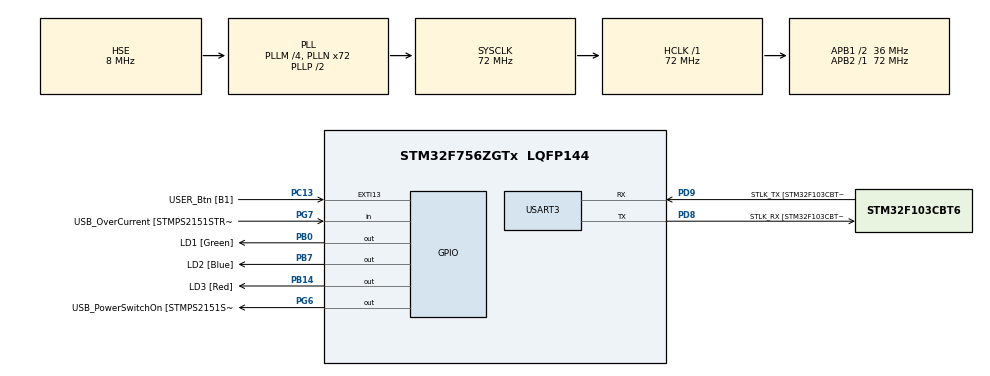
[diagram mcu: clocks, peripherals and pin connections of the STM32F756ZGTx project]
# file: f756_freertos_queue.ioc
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FREERTOS.Queues01=ProducerQueue01,16,uint16_t,0,Dynamic,NULL,NULL
FREERTOS.Tasks01=Tsak01,24,128,Task01_fanction,Default,NULL,Dynamic,NULL,NULL;Task02,8,128,Task02_function,Default,NULL,Dynamic,NULL,NULL
Mcu.Family=STM32F7
Mcu.Name=STM32F756ZGTx
Mcu.Package=LQFP144
NVIC.PriorityGroup=NVIC_PRIORITYGROUP_4
NVIC.TIM6_DAC_IRQn=true\:15\:0\:false\:false\:true\:false\:false\:true\:true
NVIC.TimeBase=TIM6_DAC_IRQn
NVIC.TimeBaseIP=TIM6
PA1.GPIO_Label=RMII_REF_CLK [LAN8742A-CZ-TR_REFCLK0]
PA1.Signal=ETH_REF_CLK
PA10.GPIO_Label=USB_ID
PA10.Signal=USB_OTG_FS_ID
PA11.GPIO_Label=USB_DM
PA11.Signal=USB_OTG_FS_DM
PA12.GPIO_Label=USB_DP
PA12.Signal=USB_OTG_FS_DP
PA13.GPIO_Label=TMS
PA13.Mode=Serial_Wire
PA13.Signal=SYS_JTMS-SWDIO
PA14.GPIO_Label=TCK
PA14.Mode=Serial_Wire
PA14.Signal=SYS_JTCK-SWCLK
PA2.GPIO_Label=RMII_MDIO [LAN8742A-CZ-TR_MDIO]
PA2.Signal=ETH_MDIO
PA7.GPIO_Label=RMII_CRS_DV [LAN8742A-CZ-TR_CRS_DV]
PA7.Signal=ETH_CRS_DV
PA8.GPIO_Label=USB_SOF [TP1]
PA8.Signal=USB_OTG_FS_SOF
PA9.GPIO_Label=USB_VBUS
PA9.Signal=USB_OTG_FS_VBUS
PB0.GPIO_Label=LD1 [Green]
PB0.Signal=GPIO_Output
PB13.GPIO_Label=RMII_TXD1 [LAN8742A-CZ-TR_TXD1]
PB13.Signal=ETH_TXD1
PB14.GPIO_Label=LD3 [Red]
PB14.Signal=GPIO_Output
PB3.GPIO_Label=SW0
PB3.Signal=SYS_JTDO-SWO
PB7.GPIO_Label=LD2 [Blue]
PB7.Signal=GPIO_Output
PB8.Signal=I2C1_SCL
PB9.Signal=I2C1_SDA
PC1.GPIO_Label=RMII_MDC [LAN8742A-CZ-TR_MDC]
PC1.Signal=ETH_MDC
PC13.GPIO_Label=USER_Btn [B1]
PC13.Signal=GPXTI13
PC14/OSC32_IN.Mode=LSE-External-Oscillator
PC14/OSC32_IN.Signal=RCC_OSC32_IN
PC15/OSC32_OUT.Mode=LSE-External-Oscillator
PC15/OSC32_OUT.Signal=RCC_OSC32_OUT
PC4.GPIO_Label=RMII_RXD0 [LAN8742A-CZ-TR_RXD0]
PC4.Signal=ETH_RXD0
PC5.GPIO_Label=RMII_RXD1 [LAN8742A-CZ-TR_RXD1]
PC5.Signal=ETH_RXD1
PD8.GPIO_Label=STLK_RX [STM32F103CBT6_PA3]
PD8.Mode=Asynchronous
PD8.Signal=USART3_TX
PD9.GPIO_Label=STLK_TX [STM32F103CBT6_PA2]
PD9.Mode=Asynchronous
PD9.Signal=USART3_RX
PG11.GPIO_Label=RMII_TX_EN [LAN8742A-CZ-TR_TXEN]
PG11.Signal=ETH_TX_EN
PG13.GPIO_Label=RMII_TXD0 [LAN8742A-CZ-TR_TXD0]
PG13.Signal=ETH_TXD0
PG6.GPIO_Label=USB_PowerSwitchOn [STMPS2151STR_EN]
PG6.Signal=GPIO_Output
PG7.GPIO_Label=USB_OverCurrent [STMPS2151STR_FAULT]
PG7.Signal=GPIO_Input
PH0/OSC_IN.GPIO_Label=MCO [STM32F103CBT6_PA8]
PH0/OSC_IN.Mode=HSE-External-Clock-Source
PH0/OSC_IN.Signal=RCC_OSC_IN
PH1/OSC_OUT.Mode=HSE-External-Clock-Source
PH1/OSC_OUT.Signal=RCC_OSC_OUT
ProjectManager.HeapSize=0x200
ProjectManager.StackSize=0x400
ProjectManager.TargetToolchain=CMake
RCC.48MHZClocksFreq_Value=24000000
RCC.AHBFreq_Value=72000000
RCC.APB1CLKDivider=RCC_HCLK_DIV2
RCC.APB1Freq_Value=36000000
RCC.APB1TimFreq_Value=72000000
RCC.APB2Freq_Value=72000000
RCC.APB2TimFreq_Value=72000000
RCC.CortexFreq_Value=72000000
RCC.HCLKFreq_Value=72000000
RCC.HSE_VALUE=8000000
RCC.HSI_VALUE=16000000
RCC.PLLM=4
RCC.PLLMUL=RCC_PLL_MUL9
RCC.PLLN=72
RCC.PLLQ=3
RCC.PLLSourceVirtual=RCC_PLLSOURCE_HSE
RCC.PRESCALERUSB=RCC_USBCLKSOURCE_PLL_DIV1_5
RCC.SYSCLKFreq_VALUE=72000000
RCC.SYSCLKSource=RCC_SYSCLKSOURCE_PLLCLK
RCC.SYSCLKSourceVirtual=RCC_SYSCLKSOURCE_PLLCLK
RCC.USBFreq_Value=48000000
RCC.VCOOutputFreq_Value=144000000
USART3.VirtualMode-Asynchronous=VM_ASYNC
VP_FREERTOS_VS_CMSIS_V2.Mode=CMSIS_V2
VP_SYS_VS_tim6.Mode=TIM6
board=NUCLEO-F756ZG

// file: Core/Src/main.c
/* USER CODE BEGIN Header */
/**
  ******************************************************************************
  * @file           : main.c
  * @brief          : Main program body
  ******************************************************************************
  * @attention
  *
  * Copyright (c) 2025 STMicroelectronics.
  * All rights reserved.
  *
  * This software is licensed under terms that can be found in the LICENSE file
  * in the root directory of this software component.
  * If no LICENSE file comes with this software, it is provided AS-IS.
  *
  ******************************************************************************
  */
/* USER CODE END Header */
#include "main.h"
#include "cmsis_os.h"

/* USER CODE BEGIN Includes */
#include <string.h>
#include "queue_private.h"

/* USER CODE END Includes */

/* USER CODE BEGIN PD */
#define MAX_BUFFER_SIZE 100
/* USER CODE END PD */

UART_HandleTypeDef huart3;

/* Definitions for Tsak01 */
osThreadId_t Tsak01Handle;
const osThreadAttr_t Tsak01_attributes = {
  .name = "Tsak01",
  .stack_size = 128 * 4,
  .priority = (osPriority_t) osPriorityNormal,
};
/* Definitions for Task02 */
osThreadId_t Task02Handle;
const osThreadAttr_t Task02_attributes = {
  .name = "Task02",
  .stack_size = 128 * 4,
  .priority = (osPriority_t) osPriorityLow,
};
/* Definitions for ProducerQueue01 */
osMessageQueueId_t ProducerQueue01Handle;
const osMessageQueueAttr_t ProducerQueue01_attributes = {
  .name = "ProducerQueue01"
};
/* USER CODE BEGIN PV */
static CustomQueue_t messageQueue;

/* USER CODE END PV */

void SystemClock_Config(void);
static void MX_GPIO_Init(void);
static void MX_USART3_UART_Init(void);
void Task01_fanction(void *argument);
void Task02_function(void *argument);

int main(void)
{

  /* MCU Configuration--------------------------------------------------------*/

  /* Reset of all peripherals, Initializes the Flash interface and the Systick. */
  HAL_Init();

  /* Configure the system clock */
  SystemClock_Config();

  /* Initialize all configured peripherals */
  MX_GPIO_Init();
  MX_USART3_UART_Init();
  /* USER CODE BEGIN 2 */

  HAL_UART_Transmit(&huart3, (uint8_t *)"Stating Echo Mode\r\n",
                    sizeof "Stating Echo Mode\r\n", 1000);

  HAL_UART_Transmit(&huart3, (uint8_t *)"Waiting for echo\r\n",
                    sizeof "Waiting for echo\r\n", 1000);

  HAL_UART_Transmit(&huart3,
                      (uint8_t *)"---------------------\n--------------------\r\n",
                      sizeof "---------------------\n--------------------\r\n",
                      1000);

  if (queue_init(&messageQueue, 5) != pdPASS)
  {
    HAL_UART_Transmit(&huart3, (uint8_t *)"Error to create queue\r\n",
                      sizeof "Error to create queue\r\n", 1000);
    Error_Handler();
  }
  /* USER CODE END 2 */

  /* Init scheduler */
  osKernelInitialize();

  /* Create the queue(s) */
  /* creation of ProducerQueue01 */
  // ProducerQueue01Handle = osMessageQueueNew (16, sizeof(uint8_t) * MAX_BUFFER_SIZE, &ProducerQueue01_attributes);

  /* Create the thread(s) */
  /* creation of Tsak01 */
  Tsak01Handle = osThreadNew(Task01_fanction, NULL, &Tsak01_attributes);

  /* creation of Task02 */
  Task02Handle = osThreadNew(Task02_function, NULL, &Task02_attributes);

  /* Start scheduler */
  osKernelStart();

  /* We should never get here as control is now taken by the scheduler */

  /* Infinite loop */
  while (1)
  {

  }
}

void SystemClock_Config(void)
{
  RCC_OscInitTypeDef RCC_OscInitStruct = {0};
  RCC_ClkInitTypeDef RCC_ClkInitStruct = {0};

  /** Configure LSE Drive Capability
  */
  HAL_PWR_EnableBkUpAccess();

  /** Configure the main internal regulator output voltage
  */
  __HAL_RCC_PWR_CLK_ENABLE();
  __HAL_PWR_VOLTAGESCALING_CONFIG(PWR_REGULATOR_VOLTAGE_SCALE3);

  /** Initializes the RCC Oscillators according to the specified parameters
  * in the RCC_OscInitTypeDef structure.
  */
  RCC_OscInitStruct.OscillatorType = RCC_OSCILLATORTYPE_HSE;
  RCC_OscInitStruct.HSEState = RCC_HSE_BYPASS;
  RCC_OscInitStruct.PLL.PLLState = RCC_PLL_ON;
  RCC_OscInitStruct.PLL.PLLSource = RCC_PLLSOURCE_HSE;
  RCC_OscInitStruct.PLL.PLLM = 4;
  RCC_OscInitStruct.PLL.PLLN = 72;
  RCC_OscInitStruct.PLL.PLLP = RCC_PLLP_DIV2;
  RCC_OscInitStruct.PLL.PLLQ = 3;
  if (HAL_RCC_OscConfig(&RCC_OscInitStruct) != HAL_OK)
  {
    Error_Handler();
  }

  /** Initializes the CPU, AHB and APB buses clocks
  */
  RCC_ClkInitStruct.ClockType = RCC_CLOCKTYPE_HCLK|RCC_CLOCKTYPE_SYSCLK
                              |RCC_CLOCKTYPE_PCLK1|RCC_CLOCKTYPE_PCLK2;
  RCC_ClkInitStruct.SYSCLKSource = RCC_SYSCLKSOURCE_PLLCLK;
  RCC_ClkInitStruct.AHBCLKDivider = RCC_SYSCLK_DIV1;
  RCC_ClkInitStruct.APB1CLKDivider = RCC_HCLK_DIV2;
  RCC_ClkInitStruct.APB2CLKDivider = RCC_HCLK_DIV1;

  if (HAL_RCC_ClockConfig(&RCC_ClkInitStruct, FLASH_LATENCY_2) != HAL_OK)
  {
    Error_Handler();
  }
}

static void MX_USART3_UART_Init(void)
{

  huart3.Instance = USART3;
  huart3.Init.BaudRate = 115200;
  huart3.Init.WordLength = UART_WORDLENGTH_8B;
  huart3.Init.StopBits = UART_STOPBITS_1;
  huart3.Init.Parity = UART_PARITY_NONE;
  huart3.Init.Mode = UART_MODE_TX_RX;
  huart3.Init.HwFlowCtl = UART_HWCONTROL_NONE;
  huart3.Init.OverSampling = UART_OVERSAMPLING_16;
  huart3.Init.OneBitSampling = UART_ONE_BIT_SAMPLE_DISABLE;
  huart3.AdvancedInit.AdvFeatureInit = UART_ADVFEATURE_NO_INIT;
  if (HAL_UART_Init(&huart3) != HAL_OK)
  {
    Error_Handler();
  }

}

static void MX_GPIO_Init(void)
{
  GPIO_InitTypeDef GPIO_InitStruct = {0};

  /* GPIO Ports Clock Enable */
  __HAL_RCC_GPIOC_CLK_ENABLE();
  __HAL_RCC_GPIOH_CLK_ENABLE();
  __HAL_RCC_GPIOA_CLK_ENABLE();
  __HAL_RCC_GPIOB_CLK_ENABLE();
  __HAL_RCC_GPIOD_CLK_ENABLE();
  __HAL_RCC_GPIOG_CLK_ENABLE();

  /*Configure GPIO pin Output Level */
  HAL_GPIO_WritePin(GPIOB, LD1_Pin|LD3_Pin|LD2_Pin, GPIO_PIN_RESET);

  /*Configure GPIO pin Output Level */
  HAL_GPIO_WritePin(USB_PowerSwitchOn_GPIO_Port, USB_PowerSwitchOn_Pin, GPIO_PIN_RESET);

  /*Configure GPIO pin : USER_Btn_Pin */
  GPIO_InitStruct.Pin = USER_Btn_Pin;
  GPIO_InitStruct.Mode = GPIO_MODE_IT_RISING;
  GPIO_InitStruct.Pull = GPIO_NOPULL;
  HAL_GPIO_Init(USER_Btn_GPIO_Port, &GPIO_InitStruct);

  /*Configure GPIO pins : RMII_MDC_Pin RMII_RXD0_Pin RMII_RXD1_Pin */
  GPIO_InitStruct.Pin = RMII_MDC_Pin|RMII_RXD0_Pin|RMII_RXD1_Pin;
  GPIO_InitStruct.Mode = GPIO_MODE_AF_PP;
  GPIO_InitStruct.Pull = GPIO_NOPULL;
  GPIO_InitStruct.Speed = GPIO_SPEED_FREQ_VERY_HIGH;
  GPIO_InitStruct.Alternate = GPIO_AF11_ETH;
  HAL_GPIO_Init(GPIOC, &GPIO_InitStruct);

  /*Configure GPIO pins : RMII_REF_CLK_Pin RMII_MDIO_Pin RMII_CRS_DV_Pin */
  GPIO_InitStruct.Pin = RMII_REF_CLK_Pin|RMII_MDIO_Pin|RMII_CRS_DV_Pin;
  GPIO_InitStruct.Mode = GPIO_MODE_AF_PP;
  GPIO_InitStruct.Pull = GPIO_NOPULL;
  GPIO_InitStruct.Speed = GPIO_SPEED_FREQ_VERY_HIGH;
  GPIO_InitStruct.Alternate = GPIO_AF11_ETH;
  HAL_GPIO_Init(GPIOA, &GPIO_InitStruct);

  /*Configure GPIO pins : LD1_Pin LD3_Pin LD2_Pin */
  GPIO_InitStruct.Pin = LD1_Pin|LD3_Pin|LD2_Pin;
  GPIO_InitStruct.Mode = GPIO_MODE_OUTPUT_PP;
  GPIO_InitStruct.Pull = GPIO_NOPULL;
  GPIO_InitStruct.Speed = GPIO_SPEED_FREQ_LOW;
  HAL_GPIO_Init(GPIOB, &GPIO_InitStruct);

  /*Configure GPIO pin : RMII_TXD1_Pin */
  GPIO_InitStruct.Pin = RMII_TXD1_Pin;
  GPIO_InitStruct.Mode = GPIO_MODE_AF_PP;
  GPIO_InitStruct.Pull = GPIO_NOPULL;
  GPIO_InitStruct.Speed = GPIO_SPEED_FREQ_VERY_HIGH;
  GPIO_InitStruct.Alternate = GPIO_AF11_ETH;
  HAL_GPIO_Init(RMII_TXD1_GPIO_Port, &GPIO_InitStruct);

  /*Configure GPIO pin : USB_PowerSwitchOn_Pin */
  GPIO_InitStruct.Pin = USB_PowerSwitchOn_Pin;
  GPIO_InitStruct.Mode = GPIO_MODE_OUTPUT_PP;
  GPIO_InitStruct.Pull = GPIO_NOPULL;
  GPIO_InitStruct.Speed = GPIO_SPEED_FREQ_LOW;
  HAL_GPIO_Init(USB_PowerSwitchOn_GPIO_Port, &GPIO_InitStruct);

  /*Configure GPIO pin : USB_OverCurrent_Pin */
  GPIO_InitStruct.Pin = USB_OverCurrent_Pin;
  GPIO_InitStruct.Mode = GPIO_MODE_INPUT;
  GPIO_InitStruct.Pull = GPIO_NOPULL;
  HAL_GPIO_Init(USB_OverCurrent_GPIO_Port, &GPIO_InitStruct);

  /*Configure GPIO pins : USB_SOF_Pin USB_ID_Pin USB_DM_Pin USB_DP_Pin */
  GPIO_InitStruct.Pin = USB_SOF_Pin|USB_ID_Pin|USB_DM_Pin|USB_DP_Pin;
  GPIO_InitStruct.Mode = GPIO_MODE_AF_PP;
  GPIO_InitStruct.Pull = GPIO_NOPULL;
  GPIO_InitStruct.Speed = GPIO_SPEED_FREQ_VERY_HIGH;
  GPIO_InitStruct.Alternate = GPIO_AF10_OTG_FS;
  HAL_GPIO_Init(GPIOA, &GPIO_InitStruct);

  /*Configure GPIO pin : USB_VBUS_Pin */
  GPIO_InitStruct.Pin = USB_VBUS_Pin;
  GPIO_InitStruct.Mode = GPIO_MODE_INPUT;
  GPIO_InitStruct.Pull = GPIO_NOPULL;
  HAL_GPIO_Init(USB_VBUS_GPIO_Port, &GPIO_InitStruct);

  /*Configure GPIO pins : RMII_TX_EN_Pin RMII_TXD0_Pin */
  GPIO_InitStruct.Pin = RMII_TX_EN_Pin|RMII_TXD0_Pin;
  GPIO_InitStruct.Mode = GPIO_MODE_AF_PP;
  GPIO_InitStruct.Pull = GPIO_NOPULL;
  GPIO_InitStruct.Speed = GPIO_SPEED_FREQ_VERY_HIGH;
  GPIO_InitStruct.Alternate = GPIO_AF11_ETH;
  HAL_GPIO_Init(GPIOG, &GPIO_InitStruct);

  /*Configure GPIO pins : PB8 PB9 */
  GPIO_InitStruct.Pin = GPIO_PIN_8|GPIO_PIN_9;
  GPIO_InitStruct.Mode = GPIO_MODE_AF_OD;
  GPIO_InitStruct.Pull = GPIO_NOPULL;
  GPIO_InitStruct.Speed = GPIO_SPEED_FREQ_VERY_HIGH;
  GPIO_InitStruct.Alternate = GPIO_AF4_I2C1;
  HAL_GPIO_Init(GPIOB, &GPIO_InitStruct);

}

  void Task01_fanction(void *argument)
  {
    /* USER CODE BEGIN 5 */
    uint8_t buffer[MAX_BUFFER_SIZE] = {0};
    uint8_t temp;
    uint32_t bytes_read = 0;

    /* Infinite loop */
    for(;;)
    {
      // Read one byte at a time with short timeout
      if (HAL_UART_Receive(&huart3, &temp, 1, 1) == HAL_OK) {
        // Store byte in buffer
        buffer[bytes_read++] = temp;

        // If received carriage return or buffer full, send to queue
        if (temp == '\r' || bytes_read >= MAX_BUFFER_SIZE-1) {
          // Add line feed after carriage return
          if (temp == '\r') {
            buffer[bytes_read++] = '\n';
          }
          // Send accumulated buffer to queue
          //osMessageQueuePut(ProducerQueue01Handle, buffer, 0, 0);

          queue_send(&messageQueue, buffer, bytes_read);

          // Reset for next message
          memset(buffer, 0, MAX_BUFFER_SIZE);
          bytes_read = 0;
        }
      }
      osDelay(1);
    }
    /* USER CODE END 5 */
  }

  void Task02_function(void *argument)
  {
    /* USER CODE BEGIN Task02_function */
    uint8_t buffer[MAX_BUFFER_SIZE] = {0};
    // uint8_t msg_prio = 0;

    /* Infinite loop */
    for(;;)
    {
      // if (osMessageQueueGet(ProducerQueue01Handle, buffer, &msg_prio, osWaitForever) == osOK) {
      //   // Echo received data back through UART
      //   HAL_UART_Transmit(&huart3, buffer, strlen((char*)buffer), 100);
      // }
      if (queue_receive(&messageQueue, buffer, MAX_BUFFER_SIZE) == pdPASS)
      {
        HAL_UART_Transmit(&huart3, buffer, strlen((char *)buffer), 100);
      }
      osDelay(1);
    }
    /* USER CODE END Task02_function */
  }
void HAL_TIM_PeriodElapsedCallback(TIM_HandleTypeDef *htim)
{
  if (htim->Instance == TIM6) {
    HAL_IncTick();
  }
}

void Error_Handler(void)
{
  __disable_irq();
  while (1)
  {
  }
}
